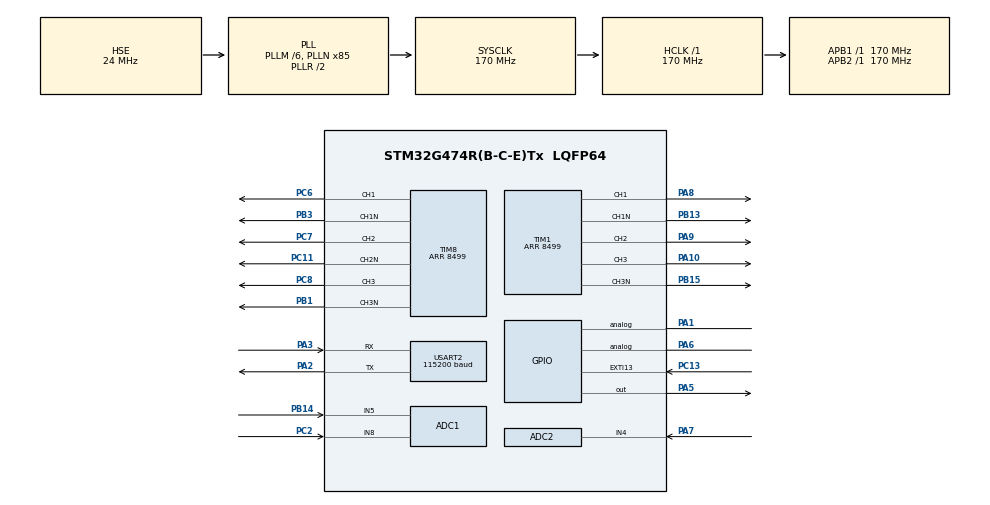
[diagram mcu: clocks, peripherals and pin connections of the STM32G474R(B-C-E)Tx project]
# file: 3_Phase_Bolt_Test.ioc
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ADC1.EnableInjectedConversion=ENABLE
ADC1.EnableRegularConversion=DISABLE
ADC1.ExternalTrigInjecConv=ADC_EXTERNALTRIGINJEC_T1_TRGO
ADC1.InjNumberOfConversion=2
ADC1.InjectedChannel-1\#ChannelInjectedConversion=ADC_CHANNEL_5
ADC1.InjectedChannel-3\#ChannelInjectedConversion=ADC_CHANNEL_8
ADC1.InjectedOffsetNumber-1\#ChannelInjectedConversion=ADC_OFFSET_NONE
ADC1.InjectedOffsetNumber-3\#ChannelInjectedConversion=ADC_OFFSET_NONE
ADC1.InjectedRank-1\#ChannelInjectedConversion=1
ADC1.InjectedRank-3\#ChannelInjectedConversion=2
ADC1.InjectedSamplingTime-1\#ChannelInjectedConversion=ADC_SAMPLETIME_12CYCLES_5
ADC1.InjectedSamplingTime-3\#ChannelInjectedConversion=ADC_SAMPLETIME_12CYCLES_5
ADC1.Mode=ADC_DUALMODE_INJECSIMULT
ADC1.master=1
ADC2.Channel-3\#ChannelRegularConversion=ADC_CHANNEL_4
ADC2.EnableInjectedConversion=ENABLE
ADC2.EnableInjectedOversampling=ENABLE
ADC2.EnableRegularConversion=ENABLE
ADC2.InjNumberOfConversion=1
ADC2.InjOversamplingRatio=ADC_OVERSAMPLING_RATIO_16
ADC2.InjectedChannel-4\#ChannelInjectedConversion=ADC_CHANNEL_4
ADC2.InjectedOffsetNumber-4\#ChannelInjectedConversion=ADC_OFFSET_NONE
ADC2.InjectedRank-4\#ChannelInjectedConversion=1
ADC2.InjectedSamplingTime-4\#ChannelInjectedConversion=ADC_SAMPLETIME_2CYCLES_5
ADC2.Mode=ADC_DUALMODE_INJECSIMULT
ADC2.NbrOfConversionFlag=1
ADC2.OffsetNumber-3\#ChannelRegularConversion=ADC_OFFSET_NONE
ADC2.Rank-3\#ChannelRegularConversion=1
ADC2.Rank1_Channel=ADC_CHANNEL_4
ADC2.Rank2_Channel=ADC_CHANNEL_18
ADC2.Rank3_Channel=ADC_CHANNEL_16
ADC2.SamplingTime-3\#ChannelRegularConversion=ADC_SAMPLETIME_12CYCLES_5
Mcu.Family=STM32G4
Mcu.Name=STM32G474R(B-C-E)Tx
Mcu.Package=LQFP64
NUCLEO-G474RE.BUTTON=1
NUCLEO-G474RE.Bsp_Common_DEMO=true
NUCLEO-G474RE.LD2=true
NVIC.ADC1_2_IRQn=true\:2\:0\:true\:false\:true\:true\:true\:true
NVIC.EXTI15_10_IRQn=true\:0\:0\:false\:false\:true\:true\:true\:true
NVIC.PriorityGroup=NVIC_PRIORITYGROUP_4
NVIC.USART2_IRQn=true\:1\:0\:true\:false\:true\:true\:true\:true
PA1.Signal=GPIO_Analog
PA10.Signal=S_TIM1_CH3
PA13.GPIO_Label=T_SWDIO
PA13.Mode=Serial_Wire
PA13.Signal=SYS_JTMS-SWDIO
PA14.GPIO_Label=T_SWCLK
PA14.Mode=Serial_Wire
PA14.Signal=SYS_JTCK-SWCLK
PA2.Mode=Asynchronous
PA2.Signal=USART2_TX
PA3.Mode=Asynchronous
PA3.Signal=USART2_RX
PA5.Signal=GPIO_Output
PA6.Signal=GPIO_Analog
PA7.Mode=IN4-Single-Ended
PA7.Signal=ADC2_IN4
PA8.Signal=S_TIM1_CH1
PA9.Signal=S_TIM1_CH2
PB1.Mode=PWM Generation3 CH3 CH3N
PB1.Signal=TIM8_CH3N
PB13.Mode=PWM Generation1 CH1 CH1N
PB13.Signal=TIM1_CH1N
PB14.Mode=IN5-Single-Ended
PB14.Signal=ADC1_IN5
PB15.Mode=PWM Generation3 CH3 CH3N
PB15.Signal=TIM1_CH3N
PB3.Mode=PWM Generation1 CH1 CH1N
PB3.Signal=TIM8_CH1N
PC0.Signal=ADC1_IN6
PC11.Mode=PWM Generation2 CH2 CH2N
PC11.Signal=TIM8_CH2N
PC13.Signal=GPXTI13
PC14-OSC32_IN.GPIO_Label=RCC_OSC32_IN
PC14-OSC32_IN.Signal=RCC_OSC32_IN
PC15-OSC32_OUT.GPIO_Label=RCC_OSC32_OUT
PC15-OSC32_OUT.Signal=RCC_OSC32_OUT
PC2.Mode=IN8-Single-Ended
PC2.Signal=ADC1_IN8
PC6.Signal=S_TIM8_CH1
PC7.Signal=S_TIM8_CH2
PC8.Signal=S_TIM8_CH3
PF0-OSC_IN.GPIO_Label=RCC_OSC_IN
PF0-OSC_IN.Mode=HSE-External-Oscillator
PF0-OSC_IN.Signal=RCC_OSC_IN
PF1-OSC_OUT.GPIO_Label=RCC_OSC_OUT
PF1-OSC_OUT.Mode=HSE-External-Oscillator
PF1-OSC_OUT.Signal=RCC_OSC_OUT
ProjectManager.HeapSize=0x800
ProjectManager.StackSize=0x1000
ProjectManager.TargetToolchain=STM32CubeIDE
RCC.ADC12Freq_Value=170000000
RCC.ADC345Freq_Value=170000000
RCC.AHBFreq_Value=170000000
RCC.APB1Freq_Value=170000000
RCC.APB1TimFreq_Value=170000000
RCC.APB2Freq_Value=170000000
RCC.APB2TimFreq_Value=170000000
RCC.CortexFreq_Value=170000000
RCC.EXTERNAL_CLOCK_VALUE=12288000
RCC.HCLKFreq_Value=170000000
RCC.HSE_VALUE=24000000
RCC.HSI48_VALUE=48000000
RCC.HSI_VALUE=16000000
RCC.LSE_VALUE=32768
RCC.PLLM=RCC_PLLM_DIV6
RCC.PLLN=85
RCC.PLLSourceVirtual=RCC_PLLSOURCE_HSE
RCC.RTCClockSelection=RCC_RTCCLKSOURCE_LSE
RCC.SYSCLKFreq_VALUE=170000000
RCC.SYSCLKSource=RCC_SYSCLKSOURCE_PLLCLK
RCC.USBFreq_Value=170000000
RCC.VCOOutputFreq_Value=340000000
SH.S_TIM1_CH1.0=TIM1_CH1,PWM Generation1 CH1 CH1N
SH.S_TIM1_CH2.0=TIM1_CH2,PWM Generation2 CH2 CH2N
SH.S_TIM1_CH3.0=TIM1_CH3,PWM Generation3 CH3 CH3N
SH.S_TIM8_CH1.0=TIM8_CH1,PWM Generation1 CH1 CH1N
SH.S_TIM8_CH2.0=TIM8_CH2,PWM Generation2 CH2 CH2N
SH.S_TIM8_CH3.0=TIM8_CH3,PWM Generation3 CH3 CH3N
TIM1.Channel-PWM\ Generation1\ CH1\ CH1N=TIM_CHANNEL_1
TIM1.Channel-PWM\ Generation2\ CH2\ CH2N=TIM_CHANNEL_2
TIM1.Channel-PWM\ Generation3\ CH3\ CH3N=TIM_CHANNEL_3
TIM1.CounterMode=TIM_COUNTERMODE_CENTERALIGNED1
TIM1.DeadTime=255
TIM1.OC1Preload_PWM=DISABLE
TIM1.OC2Preload_PWM=DISABLE
TIM1.OC3Preload_PWM=DISABLE
TIM1.PeriodNoDither=8499
TIM1.RepetitionCounter=1
TIM1.TIM_MasterOutputTrigger=TIM_TRGO_UPDATE
TIM1.TIM_MasterSlaveMode=TIM_MASTERSLAVEMODE_ENABLE
TIM8.Channel-PWM\ Generation1\ CH1\ CH1N=TIM_CHANNEL_1
TIM8.Channel-PWM\ Generation2\ CH2\ CH2N=TIM_CHANNEL_2
TIM8.Channel-PWM\ Generation3\ CH3\ CH3N=TIM_CHANNEL_3
TIM8.CounterMode=TIM_COUNTERMODE_CENTERALIGNED1
TIM8.DeadTime=255
TIM8.PeriodNoDither=8499
USART2.BaudRate=115200
USART2.FIFOMode=FIFOMODE_DISABLE
USART2.RXFIFOThreshold=RXFIFO_THRESHOLD_1QUARTERFULL
USART2.TXFIFOThreshold=TXFIFO_THRESHOLD_1QUARTERFULL
USART2.VirtualMode-Asynchronous=VM_ASYNC
VP_CORDIC_VS_CORDIC.Mode=CORDIC_Activate
VP_NUCLEO-G474RE_VS_BSP_COMMON.Mode=COMMON
VP_SYS_VS_DBSignals.Mode=DisableDeadBatterySignals
VP_TIM8_VS_ClockSourceITR.Mode=TriggerSource_ITR0
VP_TIM8_VS_ControllerModeTrigger.Mode=Trigger Mode
board=NUCLEO-G474RE

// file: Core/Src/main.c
/* USER CODE BEGIN Header */
/**
******************************************************************************
* @file           : main.c
* @brief          : Ultimate OEW Motor Control (FOC Only + ZSC PI + Field Weakening + OEW Phase Shift)
* @version        : 2.0 (Pure FOC)
******************************************************************************
*/
/* USER CODE END Header */
#include "main.h"

/* USER CODE BEGIN Includes */
#include <math.h>
#include <stdio.h>
#include <stdlib.h>
#include <string.h>
/* USER CODE END Includes */

__IO uint32_t BspButtonState = BUTTON_RELEASED;
ADC_HandleTypeDef hadc1;
ADC_HandleTypeDef hadc2;

CORDIC_HandleTypeDef hcordic;

TIM_HandleTypeDef htim1;
TIM_HandleTypeDef htim8;

UART_HandleTypeDef huart2;

/* USER CODE BEGIN PV */
#define PWM_PERIOD          8500U
#define HALF_PERIOD         (PWM_PERIOD / 2U)
#define DC_TEST_TIMEOUT_MS  15000U

/* --- DC-link shunt / ZSC sensor state --- */
typedef struct {
    uint16_t raw;
    float value;
    float offset;
    float scale;
    uint8_t calibrated;
} DcShunt_t;

/* --- Reconstructed phase currents --- */
typedef struct {
    float ia, ib, ic;                /* computed phase currents [A] */
    float off_a, off_b, off_c;       /* zero-current offsets        */
    float scale_a, scale_b, scale_c; /* ADC -> Ampere scale factors */
    uint8_t calibrated;
} CurrentMeas_t;

DcShunt_t g_dc1 = { .scale = 0.0000875f };
DcShunt_t g_dc2 = { .scale = 0.0000875f };
DcShunt_t g_zsc = { .scale = 0.0000875f };

CurrentMeas_t g_inv1 = { .scale_a = -0.0000875f, .scale_b = -0.0000875f, .scale_c =  0.0000875f };
CurrentMeas_t g_inv2 = { .scale_a =  0.0000875f, .scale_b =  0.0000875f, .scale_c =  0.0000875f };

volatile uint16_t last_raw_dc1 = 0, last_raw_izs = 0, last_raw_dc2 = 0;

/* --- DC test state --- */
static volatile int16_t g_dc_duty = 0;          /* offset от HALF_PERIOD */
static volatile uint8_t g_dc_phase = 0;         /* 0=A, 1=B, 2=C */
static volatile uint8_t g_dc_active = 0;
static uint32_t g_dc_started_at = 0U;

/* --- ADC continuous print --- */
static volatile uint8_t g_adc_cont = 0;
static uint32_t g_last_adc_print = 0;

/* --- UART receive --- */
#define UART_RX_BUF_SIZE 64U
static uint8_t uart_rx_byte = 0U;
static volatile char uart_rx_buf[UART_RX_BUF_SIZE];
static volatile uint16_t uart_rx_len = 0U;
static volatile uint8_t  uart_rx_ready = 0U;
/* USER CODE END PV */

void SystemClock_Config(void);
static void MX_GPIO_Init(void);
static void MX_ADC1_Init(void);
static void MX_ADC2_Init(void);
static void MX_TIM1_Init(void);
static void MX_TIM8_Init(void);
static void MX_CORDIC_Init(void);
static void MX_USART2_UART_Init(void);

/* USER CODE BEGIN 0 */
/* retarget printf to UART2 (HAL blocking for simplicity in this test) */
int _write(int file, char *ptr, int len) {
    (void)file;
    HAL_UART_Transmit(&huart2, (uint8_t*)ptr, (uint16_t)len, HAL_MAX_DELAY);
    return len;
}

static void uart_start_rx(void) {
    HAL_UART_Receive_IT(&huart2, &uart_rx_byte, 1U);
}

void HAL_UART_RxCpltCallback(UART_HandleTypeDef *huart) {
    if (huart != &huart2) return;
    uint8_t b = uart_rx_byte;
    if (b == '\r' || b == '\n') {
        if (uart_rx_len > 0) {
            if (uart_rx_len >= UART_RX_BUF_SIZE) {
                uart_rx_len = UART_RX_BUF_SIZE - 1; // Защита от переполнения
            }
            uart_rx_buf[uart_rx_len] = '\0'; // Гарантированно ставим \0
            uart_rx_ready = 1U;
        }
        uart_rx_len = 0U;
    } else {
        if (uart_rx_len < UART_RX_BUF_SIZE - 1) { // Строгое ограничение
            uart_rx_buf[uart_rx_len++] = (char)b;
        }
    }
    uart_start_rx();
}

/* Single-shunt current reconstruction helpers.
 * This is a test/demo implementation. For full FOC it must be called
 * from the ISR after the ADC samples are captured at the mid-points
 * of the two active vectors in each half PWM period.
 */

/* Active vector (Sa,Sb,Sc) -> which phase current flows in DC shunt and sign.
 * Two active vectors per SVPWM sector. The coefficients are used as:
 * i_phase = sign * i_dc, where sign is +1 or -1.
 */
static const int8_t shunt_vector_table[6][2][3] = {
    /* Sector 0: U4(100)=+ia, U6(110)=-ic */
    {{ 1,  0,  0 }, { 0,  0, -1 }},
    /* Sector 1: U2(010)=+ib, U6(110)=-ic */
    {{ 0,  1,  0 }, { 0,  0, -1 }},
    /* Sector 2: U2(010)=+ib, U3(011)=-ia */
    {{ 0,  1,  0 }, { -1, 0,  0 }},
    /* Sector 3: U1(001)=+ic, U3(011)=-ia */
    {{ 0,  0,  1 }, { -1, 0,  0 }},
    /* Sector 4: U1(001)=+ic, U5(101)=-ib */
    {{ 0,  0,  1 }, { 0, -1,  0 }},
    /* Sector 5: U4(100)=+ia, U5(101)=-ib */
    {{ 1,  0,  0 }, { 0, -1,  0 }}
};

/* Reconstruct phase currents from two DC-link samples and known sector.
 * For the test program this is called manually; in FOC it is called from ISR.
 * s1/s2 are DC-link shunt currents in Amperes (after offset/scale).
 * If a sample is invalid (too short vector) it should be passed as NaN or 0
 * and the corresponding phase current is held.
 */
static void shunt_reconstruct(uint8_t sector, float s1, float s2, CurrentMeas_t *out)
{
    if (sector > 5) sector = 0;

    const int8_t *v1 = shunt_vector_table[sector][0];
    const int8_t *v2 = shunt_vector_table[sector][1];

    float i_a = 0.0f, i_b = 0.0f, i_c = 0.0f;

    if (!isnan(s1)) {
        if (v1[0]) i_a = v1[0] * s1;
        if (v1[1]) i_b = v1[1] * s1;
        if (v1[2]) i_c = v1[2] * s1;
    }
    if (!isnan(s2)) {
        if (v2[0]) i_a = v2[0] * s2;
        if (v2[1]) i_b = v2[1] * s2;
        if (v2[2]) i_c = v2[2] * s2;
    }

    /* For OEW: the reconstructed shunt currents include common mode.
     * The actual phase currents need subtraction of izs/3 per inverter.
     * In this test program izs correction is applied in update_currents().
     */
    out->ia = i_a;
    out->ib = i_b;
    out->ic = i_c;
}

static void read_raw_adc(void) {
    last_raw_dc1 = (uint16_t)hadc1.Instance->JDR1;
    last_raw_izs = (uint16_t)hadc1.Instance->JDR2;
    last_raw_dc2 = (uint16_t)hadc2.Instance->JDR1;
}

static void update_currents(void) {
    g_dc1.raw = last_raw_dc1;
    g_dc2.raw = last_raw_dc2;
    g_zsc.raw = last_raw_izs;

    g_dc1.value = g_dc1.scale * ((float)last_raw_dc1 - g_dc1.offset);
    g_dc2.value = g_dc2.scale * ((float)last_raw_dc2 - g_dc2.offset);
    g_zsc.value = g_zsc.scale * ((float)last_raw_izs  - g_zsc.offset);

    /* For test program: reconstruct from a single DC sample if DC test is active.
     * In FOC this is replaced by sector from SVPWM and two samples per half period. */
    uint8_t sec1 = 0, sec2 = 0;
    if (g_dc_active) {
        /* DC test: only one phase active, sector maps directly to the active vector */
        switch (g_dc_phase) {
            case 0: sec1 = 0; break; /* phase A -> U4 (+ia) */
            case 1: sec1 = 2; break; /* phase B -> U2 (+ib) */
            case 2: sec1 = 3; break; /* phase C -> U1 (+ic) */
        }
        sec2 = sec1; /* for inverter 2 DC test, sign may be inverted; adjust by scale sign */
    }

    shunt_reconstruct(sec1, g_dc1.value, NAN, &g_inv1);
    shunt_reconstruct(sec2, g_dc2.value, NAN, &g_inv2);

    /* OEW correction: subtract common ZSC component.
     * izs is measured by g_zsc. The sum of reconstructed phase currents of each
     * inverter contains the zero-sequence component. Subtract izs/3 from each
     * phase to get the actual phase currents.
     * Note: the sign convention of g_zsc must be checked experimentally.
     */
    float zsc = g_zsc.value;
    g_inv1.ia -= zsc / 3.0f;
    g_inv1.ib -= zsc / 3.0f;
    g_inv1.ic -= zsc / 3.0f;
    g_inv2.ia += zsc / 3.0f;  /* opposite sign for second inverter */
    g_inv2.ib += zsc / 3.0f;
    g_inv2.ic += zsc / 3.0f;
}

static void print_raw_adc(void) {
    read_raw_adc();
    printf("RAW,dc1=%u,izs=%u,dc2=%u,cal_dc1=%u,cal_izs=%u,cal_dc2=%u\r\n",
           last_raw_dc1, last_raw_izs, last_raw_dc2,
           (unsigned)g_dc1.calibrated, (unsigned)g_zsc.calibrated, (unsigned)g_dc2.calibrated);
}

static void print_currents(void) {
    read_raw_adc();
    update_currents();
    printf("I,ia1=%.4f,ib1=%.4f,ic1=%.4f,ia2=%.4f,ib2=%.4f,ic2=%.4f,izs=%.4f\r\n",
           g_inv1.ia, g_inv1.ib, g_inv1.ic,
           g_inv2.ia, g_inv2.ib, g_inv2.ic,
           g_zsc.value);
}

static void set_all_pwm_half(void) {
    TIM1->CCR1 = HALF_PERIOD; TIM1->CCR2 = HALF_PERIOD; TIM1->CCR3 = HALF_PERIOD;
    TIM8->CCR1 = HALF_PERIOD; TIM8->CCR2 = HALF_PERIOD; TIM8->CCR3 = HALF_PERIOD;
}

static void stop_dc_test(void) {
    g_dc_active = 0;
    g_dc_duty = 0;
    set_all_pwm_half();
    printf("STOPPED\r\n");
}

static void check_dc_test_timeout(void) {
    if (g_dc_active && (HAL_GetTick() - g_dc_started_at >= DC_TEST_TIMEOUT_MS)) {
        stop_dc_test();
        printf("DC TIMEOUT\r\n");
    }
}

static void start_dc_test(char phase, int16_t duty_offset) {
    if (duty_offset == 0) {
        stop_dc_test();
        return;
    }
    if (abs(duty_offset) > (int16_t)HALF_PERIOD) {
        printf("ERROR: duty abs must be <= %u\r\n", (unsigned)HALF_PERIOD);
        return;
    }
    g_dc_phase = (phase == 'B') ? 1U : (phase == 'C') ? 2U : 0U;
    g_dc_duty = duty_offset;
    g_dc_started_at = HAL_GetTick();
    g_dc_active = 1U;
    printf("DC phase=%c duty_offset=%d\r\n", phase, (int)duty_offset);
}

/* Accumulators for calibration */
static void calibrate_offsets(void) {
    stop_dc_test();
    printf("CALIB: averaging 1000 samples, keep current = 0\r\n");
    HAL_Delay(50);

    float sdc1 = 0.0f, sizs = 0.0f, sdc2 = 0.0f;
    for (uint16_t i = 0; i < 1000U; i++) {
        read_raw_adc();
        sdc1 += (float)last_raw_dc1;
        sizs += (float)last_raw_izs;
        sdc2 += (float)last_raw_dc2;
        HAL_Delay(1);
    }
    g_dc1.offset = sdc1 / 1000.0f;
    g_zsc.offset = sizs / 1000.0f;
    g_dc2.offset = sdc2 / 1000.0f;

    g_inv1.off_a = g_inv1.off_b = g_inv1.off_c = g_dc1.offset;
    g_inv2.off_a = g_inv2.off_b = g_inv2.off_c = g_dc2.offset;

    g_dc1.calibrated = 1U;
    g_zsc.calibrated = 1U;
    g_dc2.calibrated = 1U;
    g_inv1.calibrated = 1U;
    g_inv2.calibrated = 1U;
    printf("CALIB DONE: off_dc1=%.2f off_izs=%.2f off_dc2=%.2f\r\n",
           g_dc1.offset, g_zsc.offset, g_dc2.offset);
}

/* Apply DC pattern inside ISR-safe main-loop tick (not real ISR, just TIM CCR update)
 *
 * Motor phases have independent (free) ends:
 *   A: start -> TIM1_CH1, end -> TIM8_CH1
 *   B: start -> TIM1_CH2, end -> TIM8_CH2
 *   C: start -> TIM1_CH3, end -> TIM8_CH3
 *
 * For a selected phase, drive current through that single phase only.
 * Positive duty -> start tied to VDC+, end to VDC-.
 * Negative duty inverts polarity automatically because duty < HALF_PERIOD.
 */
static void apply_dc_pwm(void) {
    if (!g_dc_active) return;
    uint32_t duty = (uint32_t)((int32_t)HALF_PERIOD + (int32_t)g_dc_duty);
    if (duty > PWM_PERIOD) duty = PWM_PERIOD;
    uint32_t inv = PWM_PERIOD - duty;
    switch (g_dc_phase) {
        case 0: /* Phase A only */
            TIM1->CCR1 = duty;        TIM1->CCR2 = HALF_PERIOD; TIM1->CCR3 = HALF_PERIOD;
            TIM8->CCR1 = inv;         TIM8->CCR2 = HALF_PERIOD; TIM8->CCR3 = HALF_PERIOD;
            break;
        case 1: /* Phase B only */
            TIM1->CCR1 = HALF_PERIOD; TIM1->CCR2 = duty;         TIM1->CCR3 = HALF_PERIOD;
            TIM8->CCR1 = HALF_PERIOD; TIM8->CCR2 = inv;         TIM8->CCR3 = HALF_PERIOD;
            break;
        case 2: /* Phase C only */
            TIM1->CCR1 = HALF_PERIOD; TIM1->CCR2 = HALF_PERIOD; TIM1->CCR3 = duty;
            TIM8->CCR1 = HALF_PERIOD; TIM8->CCR2 = HALF_PERIOD; TIM8->CCR3 = inv;
            break;
        default:
            break;
    }
}

static void print_help(void) {
    printf(
        "Commands:\r\n"
        "  adc            print raw ADC once (dc1, izs, dc2)\r\n"
        "  adccont        print raw ADC every 100 ms\r\n"
        "  adcstop        stop continuous ADC print\r\n"
        "  calib          calibrate zero-current offsets\r\n"
        "  i              compute and print reconstructed currents\r\n"
        "  scale1 <val>   set scale for DC shunt of inverter 1 (A/LSB)\r\n"
        "  scale2 <val>   set scale for DC shunt of inverter 2\r\n"
        "  scalez <val>   set scale for ZSC sensor\r\n"
        "  dc A <duty>    DC test phase A, duty offset from half\r\n"
        "  dc B <duty>    DC test phase B\r\n"
        "  dc C <duty>    DC test phase C\r\n"
        "  stop           all phases to 50%%\r\n"
        "  help           this message\r\n"
    );
}

static void process_command(const char *cmd) {
    if (cmd == NULL || cmd[0] == '\0') return;

    char buf[UART_RX_BUF_SIZE];
    strncpy(buf, cmd, sizeof(buf) - 1);
    buf[sizeof(buf) - 1] = '\0';

    char *tok = strtok(buf, " \t");
    if (tok == NULL) return;

    if (strcmp(tok, "adc") == 0) {
        printf("ADC mapping: dc1=ADC1_JDR1, izs=ADC1_JDR2, dc2=ADC2_JDR1\r\n");
        print_raw_adc();
    } else if (strcmp(tok, "adccont") == 0) {
        g_adc_cont = 1;
        printf("ADC continuous ON (dc1, izs, dc2)\r\n");
    } else if (strcmp(tok, "adcstop") == 0) {
        g_adc_cont = 0;
        printf("ADC continuous OFF\r\n");
    } else if (strcmp(tok, "calib") == 0) {
        calibrate_offsets();
    } else if (strcmp(tok, "i") == 0) {
        print_currents();
    } else if (strcmp(tok, "stop") == 0) {
        stop_dc_test();
    } else if (strcmp(tok, "help") == 0) {
        print_help();
    } else if (strcmp(tok, "scale1") == 0) {
        char *v = strtok(NULL, " \t");
        if (v) { g_dc1.scale = strtof(v, NULL); printf("scale1=%.6f\r\n", g_dc1.scale); }
    } else if (strcmp(tok, "scale2") == 0) {
        char *v = strtok(NULL, " \t");
        if (v) { g_dc2.scale = strtof(v, NULL); printf("scale2=%.6f\r\n", g_dc2.scale); }
    } else if (strcmp(tok, "scalez") == 0) {
        char *v = strtok(NULL, " \t");
        if (v) { g_zsc.scale = strtof(v, NULL); printf("scalez=%.6f\r\n", g_zsc.scale); }
    } else if (strcmp(tok, "dc") == 0) {
        char *phase = strtok(NULL, " \t");
        char *duty  = strtok(NULL, " \t");
        if (phase && duty && (phase[0] == 'A' || phase[0] == 'B' || phase[0] == 'C')) {
            start_dc_test(phase[0], (int16_t)atoi(duty));
        } else {
            printf("USAGE: dc A <duty_offset>\r\n");
        }
    } else {
    	printf("UNKNOWN: '%s'\r\n", buf);
    }
}
/* USER CODE END 0 */

int main(void)
{

  /* MCU Configuration--------------------------------------------------------*/

  /* Reset of all peripherals, Initializes the Flash interface and the Systick. */
  HAL_Init();

  /* Configure the system clock */
  SystemClock_Config();

  /* Initialize all configured peripherals */
  MX_GPIO_Init();
  MX_ADC1_Init();
  MX_ADC2_Init();
  MX_TIM1_Init();
  MX_TIM8_Init();
  MX_CORDIC_Init();
  MX_USART2_UART_Init();
  /* USER CODE BEGIN 2 */
    set_all_pwm_half();
    HAL_TIM_PWM_Start(&htim1, TIM_CHANNEL_1);
    HAL_TIM_PWM_Start(&htim1, TIM_CHANNEL_2);
    HAL_TIM_PWM_Start(&htim1, TIM_CHANNEL_3);
    HAL_TIMEx_PWMN_Start(&htim1, TIM_CHANNEL_1);
    HAL_TIMEx_PWMN_Start(&htim1, TIM_CHANNEL_2);
    HAL_TIMEx_PWMN_Start(&htim1, TIM_CHANNEL_3);

    HAL_TIM_PWM_Start(&htim8, TIM_CHANNEL_1);
    HAL_TIM_PWM_Start(&htim8, TIM_CHANNEL_2);
    HAL_TIM_PWM_Start(&htim8, TIM_CHANNEL_3);
    HAL_TIMEx_PWMN_Start(&htim8, TIM_CHANNEL_1);
    HAL_TIMEx_PWMN_Start(&htim8, TIM_CHANNEL_2);
    HAL_TIMEx_PWMN_Start(&htim8, TIM_CHANNEL_3);

    // 1. Калибровка ADC
    HAL_ADCEx_Calibration_Start(&hadc1, ADC_SINGLE_ENDED);
    HAL_ADCEx_Calibration_Start(&hadc2, ADC_SINGLE_ENDED);

    // 2. Запуск ADC2 (Ведомый, БЕЗ прерываний!)
    HAL_ADCEx_InjectedStart(&hadc2);

    // 3. Запуск ADC1 (Ведущий, С прерываниями)
    HAL_ADCEx_InjectedStart_IT(&hadc1);

    uart_start_rx();

    printf("\r\nSTEVAL-IPM20B Current Sense Test\r\n");
    printf("Type 'help' for commands\r\n");
  /* USER CODE END 2 */

  /* Initialize led */
  BSP_LED_Init(LED_GREEN);

  /* Initialize USER push-button, will be used to trigger an interrupt each time it's pressed.*/
  BSP_PB_Init(BUTTON_USER, BUTTON_MODE_EXTI);

  /* USER CODE BEGIN BSP */

  /* -- Sample board code to switch on led ---- */
  BSP_LED_On(LED_GREEN);

  /* USER CODE END BSP */

  /* Infinite loop */
  /* USER CODE BEGIN WHILE */

   while (1)
  {

    /* -- Sample board code for User push-button in interrupt mode ---- */
    if (BspButtonState == BUTTON_PRESSED)
    {
      BspButtonState = BUTTON_RELEASED;
      BSP_LED_Toggle(LED_GREEN);
    }
    /* Process incoming UART command */
    if (uart_rx_ready) {
        char cmd_copy[UART_RX_BUF_SIZE];
        uint32_t primask = __get_PRIMASK();
        __disable_irq();
        // БЕЗОПАСНОЕ копирование:
        strncpy(cmd_copy, (const char*)uart_rx_buf, UART_RX_BUF_SIZE - 1);
        cmd_copy[UART_RX_BUF_SIZE - 1] = '\0';
        uart_rx_len = 0U;
        uart_rx_ready = 0U;
        __set_PRIMASK(primask);
        process_command(cmd_copy);
    }

        check_dc_test_timeout();
        /* Apply DC PWM if active */
        apply_dc_pwm();

        /* Continuous ADC print at ~10 Hz */
        if (g_adc_cont && (HAL_GetTick() - g_last_adc_print >= 100U)) {
            g_last_adc_print = HAL_GetTick();
            print_raw_adc();
        }

    /* USER CODE END WHILE */

  }
}

void SystemClock_Config(void)
{
  RCC_OscInitTypeDef RCC_OscInitStruct = {0};
  RCC_ClkInitTypeDef RCC_ClkInitStruct = {0};

  /** Configure the main internal regulator output voltage
  */
  HAL_PWREx_ControlVoltageScaling(PWR_REGULATOR_VOLTAGE_SCALE1_BOOST);

  /** Initializes the RCC Oscillators according to the specified parameters
  * in the RCC_OscInitTypeDef structure.
  */
  RCC_OscInitStruct.OscillatorType = RCC_OSCILLATORTYPE_HSE;
  RCC_OscInitStruct.HSEState = RCC_HSE_ON;
  RCC_OscInitStruct.PLL.PLLState = RCC_PLL_ON;
  RCC_OscInitStruct.PLL.PLLSource = RCC_PLLSOURCE_HSE;
  RCC_OscInitStruct.PLL.PLLM = RCC_PLLM_DIV6;
  RCC_OscInitStruct.PLL.PLLN = 85;
  RCC_OscInitStruct.PLL.PLLP = RCC_PLLP_DIV2;
  RCC_OscInitStruct.PLL.PLLQ = RCC_PLLQ_DIV2;
  RCC_OscInitStruct.PLL.PLLR = RCC_PLLR_DIV2;
  if (HAL_RCC_OscConfig(&RCC_OscInitStruct) != HAL_OK)
  {
    Error_Handler();
  }

  /** Initializes the CPU, AHB and APB buses clocks
  */
  RCC_ClkInitStruct.ClockType = RCC_CLOCKTYPE_HCLK|RCC_CLOCKTYPE_SYSCLK
                              |RCC_CLOCKTYPE_PCLK1|RCC_CLOCKTYPE_PCLK2;
  RCC_ClkInitStruct.SYSCLKSource = RCC_SYSCLKSOURCE_PLLCLK;
  RCC_ClkInitStruct.AHBCLKDivider = RCC_SYSCLK_DIV1;
  RCC_ClkInitStruct.APB1CLKDivider = RCC_HCLK_DIV1;
  RCC_ClkInitStruct.APB2CLKDivider = RCC_HCLK_DIV1;

  if (HAL_RCC_ClockConfig(&RCC_ClkInitStruct, FLASH_LATENCY_4) != HAL_OK)
  {
    Error_Handler();
  }
}

static void MX_ADC1_Init(void)
{

  ADC_MultiModeTypeDef multimode = {0};
  ADC_InjectionConfTypeDef sConfigInjected = {0};

  /** Common config
  */
  hadc1.Instance = ADC1;
  hadc1.Init.ClockPrescaler = ADC_CLOCK_SYNC_PCLK_DIV4;
  hadc1.Init.Resolution = ADC_RESOLUTION_12B;
  hadc1.Init.DataAlign = ADC_DATAALIGN_RIGHT;
  hadc1.Init.GainCompensation = 0;
  hadc1.Init.ScanConvMode = ADC_SCAN_ENABLE;
  hadc1.Init.EOCSelection = ADC_EOC_SINGLE_CONV;
  hadc1.Init.LowPowerAutoWait = DISABLE;
  hadc1.Init.ContinuousConvMode = DISABLE;
  hadc1.Init.NbrOfConversion = 1;
  hadc1.Init.DiscontinuousConvMode = DISABLE;
  hadc1.Init.DMAContinuousRequests = DISABLE;
  hadc1.Init.Overrun = ADC_OVR_DATA_PRESERVED;
  hadc1.Init.OversamplingMode = DISABLE;
  if (HAL_ADC_Init(&hadc1) != HAL_OK)
  {
    Error_Handler();
  }

  /** Configure the ADC multi-mode
  */
  multimode.Mode = ADC_DUALMODE_INJECSIMULT;
  multimode.DMAAccessMode = ADC_DMAACCESSMODE_DISABLED;
  multimode.TwoSamplingDelay = ADC_TWOSAMPLINGDELAY_1CYCLE;
  if (HAL_ADCEx_MultiModeConfigChannel(&hadc1, &multimode) != HAL_OK)
  {
    Error_Handler();
  }

  /** Configure Injected Channel
  */
  sConfigInjected.InjectedChannel = ADC_CHANNEL_5;
  sConfigInjected.InjectedRank = ADC_INJECTED_RANK_1;
  sConfigInjected.InjectedSamplingTime = ADC_SAMPLETIME_12CYCLES_5;
  sConfigInjected.InjectedSingleDiff = ADC_SINGLE_ENDED;
  sConfigInjected.InjectedOffsetNumber = ADC_OFFSET_NONE;
  sConfigInjected.InjectedOffset = 0;
  sConfigInjected.InjectedNbrOfConversion = 2;
  sConfigInjected.InjectedDiscontinuousConvMode = DISABLE;
  sConfigInjected.AutoInjectedConv = DISABLE;
  sConfigInjected.QueueInjectedContext = DISABLE;
  sConfigInjected.ExternalTrigInjecConv = ADC_EXTERNALTRIGINJEC_T1_TRGO;
  sConfigInjected.ExternalTrigInjecConvEdge = ADC_EXTERNALTRIGINJECCONV_EDGE_RISING;
  sConfigInjected.InjecOversamplingMode = ENABLE;
  sConfigInjected.InjecOversampling.Ratio = ADC_OVERSAMPLING_RATIO_16;
  sConfigInjected.InjecOversampling.RightBitShift = ADC_RIGHTBITSHIFT_NONE;
  if (HAL_ADCEx_InjectedConfigChannel(&hadc1, &sConfigInjected) != HAL_OK)
  {
    Error_Handler();
  }

  /** Configure Injected Channel
  */
  sConfigInjected.InjectedChannel = ADC_CHANNEL_8;
  sConfigInjected.InjectedRank = ADC_INJECTED_RANK_2;
  if (HAL_ADCEx_InjectedConfigChannel(&hadc1, &sConfigInjected) != HAL_OK)
  {
    Error_Handler();
  }

}

static void MX_ADC2_Init(void)
{

  ADC_ChannelConfTypeDef sConfig = {0};
  ADC_InjectionConfTypeDef sConfigInjected = {0};

  /** Common config
  */
  hadc2.Instance = ADC2;
  hadc2.Init.ClockPrescaler = ADC_CLOCK_SYNC_PCLK_DIV4;
  hadc2.Init.Resolution = ADC_RESOLUTION_12B;
  hadc2.Init.DataAlign = ADC_DATAALIGN_RIGHT;
  hadc2.Init.GainCompensation = 0;
  hadc2.Init.ScanConvMode = ADC_SCAN_DISABLE;
  hadc2.Init.EOCSelection = ADC_EOC_SINGLE_CONV;
  hadc2.Init.LowPowerAutoWait = DISABLE;
  hadc2.Init.ContinuousConvMode = DISABLE;
  hadc2.Init.NbrOfConversion = 1;
  hadc2.Init.DiscontinuousConvMode = DISABLE;
  hadc2.Init.DMAContinuousRequests = DISABLE;
  hadc2.Init.Overrun = ADC_OVR_DATA_PRESERVED;
  hadc2.Init.OversamplingMode = DISABLE;
  if (HAL_ADC_Init(&hadc2) != HAL_OK)
  {
    Error_Handler();
  }

  /** Configure Regular Channel
  */
  sConfig.Channel = ADC_CHANNEL_4;
  sConfig.Rank = ADC_REGULAR_RANK_1;
  sConfig.SamplingTime = ADC_SAMPLETIME_12CYCLES_5;
  sConfig.SingleDiff = ADC_SINGLE_ENDED;
  sConfig.OffsetNumber = ADC_OFFSET_NONE;
  sConfig.Offset = 0;
  if (HAL_ADC_ConfigChannel(&hadc2, &sConfig) != HAL_OK)
  {
    Error_Handler();
  }

  /** Configure Injected Channel
  */
  sConfigInjected.InjectedChannel = ADC_CHANNEL_4;
  sConfigInjected.InjectedRank = ADC_INJECTED_RANK_1;
  sConfigInjected.InjectedSamplingTime = ADC_SAMPLETIME_2CYCLES_5;
  sConfigInjected.InjectedSingleDiff = ADC_SINGLE_ENDED;
  sConfigInjected.InjectedOffsetNumber = ADC_OFFSET_NONE;
  sConfigInjected.InjectedOffset = 0;
  sConfigInjected.InjectedNbrOfConversion = 1;
  sConfigInjected.InjectedDiscontinuousConvMode = DISABLE;
  sConfigInjected.AutoInjectedConv = DISABLE;
  sConfigInjected.QueueInjectedContext = DISABLE;
  sConfigInjected.ExternalTrigInjecConv = ADC_EXTERNALTRIGINJEC_T1_TRGO;
  sConfigInjected.ExternalTrigInjecConvEdge = ADC_EXTERNALTRIGINJECCONV_EDGE_RISING;
  sConfigInjected.InjecOversamplingMode = ENABLE;
  sConfigInjected.InjecOversampling.Ratio = ADC_OVERSAMPLING_RATIO_16;
  sConfigInjected.InjecOversampling.RightBitShift = ADC_RIGHTBITSHIFT_NONE;
  if (HAL_ADCEx_InjectedConfigChannel(&hadc2, &sConfigInjected) != HAL_OK)
  {
    Error_Handler();
  }

}

static void MX_CORDIC_Init(void)
{

  hcordic.Instance = CORDIC;
  if (HAL_CORDIC_Init(&hcordic) != HAL_OK)
  {
    Error_Handler();
  }
  /* USER CODE BEGIN CORDIC_Init 2 */

  // Явная конфигурация CORDIC для FOC:
  //   FUNC=0     -> Cosine (CORDIC_Cos напрямую, CORDIC_Sin через сдвиг на pi/2)
  //   PRECISION=24 -> высокая точность (по умолчанию 4 итераций недостаточно для токового контура)
  //   SCALE=0    -> корректно для cosine (выход в q31 [-1, 1])
  //   ARGSIZE=3  -> q31 angle в радианах [-pi, pi) (по умолчанию)
  //   RESSIZE=3  -> q31 output (по умолчанию)
  // Используем MODIFY_REG, чтобы не сбросить прочие поля CSR.
  MODIFY_REG(CORDIC->CSR,
             CORDIC_CSR_FUNC_Msk | CORDIC_CSR_PRECISION_Msk,
             (0U  << CORDIC_CSR_FUNC_Pos)      |  // FUNC = 0: Cosine
             (24U << CORDIC_CSR_PRECISION_Pos));  // PRECISION = 24 итераций

  /* USER CODE END CORDIC_Init 2 */

}

static void MX_TIM1_Init(void)
{

  TIM_MasterConfigTypeDef sMasterConfig = {0};
  TIM_OC_InitTypeDef sConfigOC = {0};
  TIM_BreakDeadTimeConfigTypeDef sBreakDeadTimeConfig = {0};

  htim1.Instance = TIM1;
  htim1.Init.Prescaler = 0;
  htim1.Init.CounterMode = TIM_COUNTERMODE_CENTERALIGNED1;
  htim1.Init.Period = 8499;
  htim1.Init.ClockDivision = TIM_CLOCKDIVISION_DIV1;
  htim1.Init.RepetitionCounter = 1;
  htim1.Init.AutoReloadPreload = TIM_AUTORELOAD_PRELOAD_DISABLE;
  if (HAL_TIM_PWM_Init(&htim1) != HAL_OK)
  {
    Error_Handler();
  }
  sMasterConfig.MasterOutputTrigger = TIM_TRGO_UPDATE;
  sMasterConfig.MasterOutputTrigger2 = TIM_TRGO2_RESET;
  sMasterConfig.MasterSlaveMode = TIM_MASTERSLAVEMODE_ENABLE;
  if (HAL_TIMEx_MasterConfigSynchronization(&htim1, &sMasterConfig) != HAL_OK)
  {
    Error_Handler();
  }
  sConfigOC.OCMode = TIM_OCMODE_PWM1;
  sConfigOC.Pulse = 0;
  sConfigOC.OCPolarity = TIM_OCPOLARITY_HIGH;
  sConfigOC.OCNPolarity = TIM_OCNPOLARITY_HIGH;
  sConfigOC.OCFastMode = TIM_OCFAST_DISABLE;
  sConfigOC.OCIdleState = TIM_OCIDLESTATE_RESET;
  sConfigOC.OCNIdleState = TIM_OCNIDLESTATE_RESET;
  if (HAL_TIM_PWM_ConfigChannel(&htim1, &sConfigOC, TIM_CHANNEL_1) != HAL_OK)
  {
    Error_Handler();
  }
  __HAL_TIM_DISABLE_OCxPRELOAD(&htim1, TIM_CHANNEL_1);
  if (HAL_TIM_PWM_ConfigChannel(&htim1, &sConfigOC, TIM_CHANNEL_3) != HAL_OK)
  {
    Error_Handler();
  }
  __HAL_TIM_DISABLE_OCxPRELOAD(&htim1, TIM_CHANNEL_3);
  sBreakDeadTimeConfig.OffStateRunMode = TIM_OSSR_DISABLE;
  sBreakDeadTimeConfig.OffStateIDLEMode = TIM_OSSI_DISABLE;
  sBreakDeadTimeConfig.LockLevel = TIM_LOCKLEVEL_OFF;
  sBreakDeadTimeConfig.DeadTime = 255;
  sBreakDeadTimeConfig.BreakState = TIM_BREAK_DISABLE;
  sBreakDeadTimeConfig.BreakPolarity = TIM_BREAKPOLARITY_HIGH;
  sBreakDeadTimeConfig.BreakFilter = 0;
  sBreakDeadTimeConfig.BreakAFMode = TIM_BREAK_AFMODE_INPUT;
  sBreakDeadTimeConfig.Break2State = TIM_BREAK2_DISABLE;
  sBreakDeadTimeConfig.Break2Polarity = TIM_BREAK2POLARITY_HIGH;
  sBreakDeadTimeConfig.Break2Filter = 0;
  sBreakDeadTimeConfig.Break2AFMode = TIM_BREAK_AFMODE_INPUT;
  sBreakDeadTimeConfig.AutomaticOutput = TIM_AUTOMATICOUTPUT_DISABLE;
  if (HAL_TIMEx_ConfigBreakDeadTime(&htim1, &sBreakDeadTimeConfig) != HAL_OK)
  {
    Error_Handler();
  }
  HAL_TIM_MspPostInit(&htim1);

}

static void MX_TIM8_Init(void)
{

  TIM_SlaveConfigTypeDef sSlaveConfig = {0};
  TIM_MasterConfigTypeDef sMasterConfig = {0};
  TIM_OC_InitTypeDef sConfigOC = {0};
  TIM_BreakDeadTimeConfigTypeDef sBreakDeadTimeConfig = {0};

  htim8.Instance = TIM8;
  htim8.Init.Prescaler = 0;
  htim8.Init.CounterMode = TIM_COUNTERMODE_CENTERALIGNED1;
  htim8.Init.Period = 8499;
  htim8.Init.ClockDivision = TIM_CLOCKDIVISION_DIV1;
  htim8.Init.RepetitionCounter = 0;
  htim8.Init.AutoReloadPreload = TIM_AUTORELOAD_PRELOAD_DISABLE;
  if (HAL_TIM_Base_Init(&htim8) != HAL_OK)
  {
    Error_Handler();
  }
  if (HAL_TIM_PWM_Init(&htim8) != HAL_OK)
  {
    Error_Handler();
  }
  sSlaveConfig.SlaveMode = TIM_SLAVEMODE_TRIGGER;
  sSlaveConfig.InputTrigger = TIM_TS_ITR0;
  if (HAL_TIM_SlaveConfigSynchro(&htim8, &sSlaveConfig) != HAL_OK)
  {
    Error_Handler();
  }
  sMasterConfig.MasterOutputTrigger = TIM_TRGO_RESET;
  sMasterConfig.MasterOutputTrigger2 = TIM_TRGO2_RESET;
  sMasterConfig.MasterSlaveMode = TIM_MASTERSLAVEMODE_DISABLE;
  if (HAL_TIMEx_MasterConfigSynchronization(&htim8, &sMasterConfig) != HAL_OK)
  {
    Error_Handler();
  }
  sConfigOC.OCMode = TIM_OCMODE_PWM1;
  sConfigOC.Pulse = 0;
  sConfigOC.OCPolarity = TIM_OCPOLARITY_HIGH;
  sConfigOC.OCNPolarity = TIM_OCNPOLARITY_HIGH;
  sConfigOC.OCFastMode = TIM_OCFAST_DISABLE;
  sConfigOC.OCIdleState = TIM_OCIDLESTATE_RESET;
  sConfigOC.OCNIdleState = TIM_OCNIDLESTATE_RESET;
  if (HAL_TIM_PWM_ConfigChannel(&htim8, &sConfigOC, TIM_CHANNEL_1) != HAL_OK)
  {
    Error_Handler();
  }
  if (HAL_TIM_PWM_ConfigChannel(&htim8, &sConfigOC, TIM_CHANNEL_2) != HAL_OK)
  {
    Error_Handler();
  }
  if (HAL_TIM_PWM_ConfigChannel(&htim8, &sConfigOC, TIM_CHANNEL_3) != HAL_OK)
  {
    Error_Handler();
  }
  sBreakDeadTimeConfig.OffStateRunMode = TIM_OSSR_DISABLE;
  sBreakDeadTimeConfig.OffStateIDLEMode = TIM_OSSI_DISABLE;
  sBreakDeadTimeConfig.LockLevel = TIM_LOCKLEVEL_OFF;
  sBreakDeadTimeConfig.DeadTime = 255;
  sBreakDeadTimeConfig.BreakState = TIM_BREAK_DISABLE;
  sBreakDeadTimeConfig.BreakPolarity = TIM_BREAKPOLARITY_HIGH;
  sBreakDeadTimeConfig.BreakFilter = 0;
  sBreakDeadTimeConfig.BreakAFMode = TIM_BREAK_AFMODE_INPUT;
  sBreakDeadTimeConfig.Break2State = TIM_BREAK2_DISABLE;
  sBreakDeadTimeConfig.Break2Polarity = TIM_BREAK2POLARITY_HIGH;
  sBreakDeadTimeConfig.Break2Filter = 0;
  sBreakDeadTimeConfig.Break2AFMode = TIM_BREAK_AFMODE_INPUT;
  sBreakDeadTimeConfig.AutomaticOutput = TIM_AUTOMATICOUTPUT_DISABLE;
  if (HAL_TIMEx_ConfigBreakDeadTime(&htim8, &sBreakDeadTimeConfig) != HAL_OK)
  {
    Error_Handler();
  }
  HAL_TIM_MspPostInit(&htim8);

}

static void MX_USART2_UART_Init(void)
{

  huart2.Instance = USART2;
  huart2.Init.BaudRate = 115200;
  huart2.Init.WordLength = UART_WORDLENGTH_8B;
  huart2.Init.StopBits = UART_STOPBITS_1;
  huart2.Init.Parity = UART_PARITY_NONE;
  huart2.Init.Mode = UART_MODE_TX_RX;
  huart2.Init.HwFlowCtl = UART_HWCONTROL_NONE;
  huart2.Init.OverSampling = UART_OVERSAMPLING_16;
  huart2.Init.OneBitSampling = UART_ONE_BIT_SAMPLE_DISABLE;
  huart2.Init.ClockPrescaler = UART_PRESCALER_DIV1;
  huart2.AdvancedInit.AdvFeatureInit = UART_ADVFEATURE_NO_INIT;
  if (HAL_UART_Init(&huart2) != HAL_OK)
  {
    Error_Handler();
  }
  if (HAL_UARTEx_SetTxFifoThreshold(&huart2, UART_TXFIFO_THRESHOLD_1_4) != HAL_OK)
  {
    Error_Handler();
  }
  if (HAL_UARTEx_SetRxFifoThreshold(&huart2, UART_RXFIFO_THRESHOLD_1_4) != HAL_OK)
  {
    Error_Handler();
  }
  if (HAL_UARTEx_DisableFifoMode(&huart2) != HAL_OK)
  {
    Error_Handler();
  }

}

static void MX_GPIO_Init(void)
{
  GPIO_InitTypeDef GPIO_InitStruct = {0};

  /* GPIO Ports Clock Enable */
  __HAL_RCC_GPIOC_CLK_ENABLE();
  __HAL_RCC_GPIOF_CLK_ENABLE();
  __HAL_RCC_GPIOA_CLK_ENABLE();
  __HAL_RCC_GPIOB_CLK_ENABLE();

  /*Configure GPIO pins : PA1 PA6 */
  GPIO_InitStruct.Pin = GPIO_PIN_1|GPIO_PIN_6;
  GPIO_InitStruct.Mode = GPIO_MODE_ANALOG;
  GPIO_InitStruct.Pull = GPIO_NOPULL;
  HAL_GPIO_Init(GPIOA, &GPIO_InitStruct);

}

/* USER CODE BEGIN 4 */

/* Callback вызывается по завершении каждого инжектированного преобразования ADC1.
 * LED_GREEN переключается, чтобы на осциллографе видеть момент выборки АЦП.
 * ADC1 в dual mode является ведущим, поэтому его IRQ совпадает с захватом ADC2.
 */
void HAL_ADCEx_InjectedConvCpltCallback(ADC_HandleTypeDef *hadc)
{
    if (hadc->Instance == ADC1)
    {
        BSP_LED_Toggle(LED_GREEN);
    }
}

/* USER CODE END 4 */

/**
  * @brief BSP Push Button callback
  * @param Button Specifies the pressed button
  * @retval None
  */
void BSP_PB_Callback(Button_TypeDef Button)
{
  if (Button == BUTTON_USER)
  {
    BspButtonState = BUTTON_PRESSED;
  }
}

void Error_Handler(void)
{
  __disable_irq();
  while (1)
  {
  }
}
